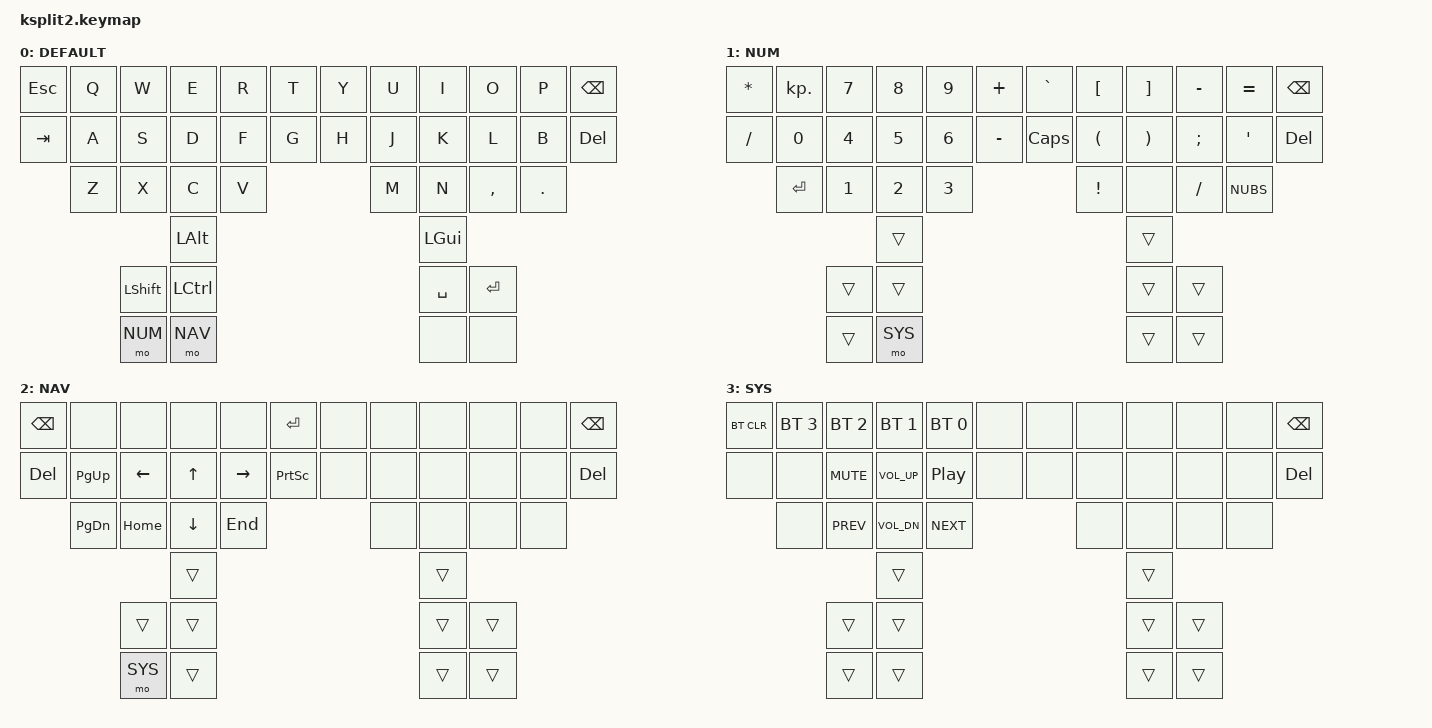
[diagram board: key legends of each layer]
/*
Test


*/



#include <behaviors.dtsi>
#include <dt-bindings/zmk/keys.h>
#include <dt-bindings/zmk/bt.h>
#include <dt-bindings/zmk/outputs.h>

#define DEFAULT 0
#define NUM     1
#define NAV     2
#define SYS     3




/ {

   

    keymap {
        compatible = "zmk,keymap";

        DEFAULT { 
            bindings = <
                &kp ESC   &kp Q     &kp W     &kp E     &kp R     &kp T         &kp Y     &kp U     &kp I     &kp O     &kp P     &kp BSPC
                &kp TAB   &kp A     &kp S     &kp D     &kp F     &kp G         &kp H     &kp J     &kp K     &kp L     &kp B     &kp DEL
                          &kp Z     &kp X     &kp C     &kp V                             &kp M     &kp N     &kp COMMA &kp DOT
                                              &kp LALT                                            &kp LGUI
                                        &kp LSHFT   &kp LCTRL                                 &kp SPACE   &kp ENTER
                                        &mo NUM     &mo NAV                                   &none       &none
            >;
        };

        NUM { 
            bindings = <
                &kp STAR  &kp KP_DOT &kp N7    &kp N8    &kp N9    &kp PLUS     &kp GRAVE &kp LBKT     &kp RBKT     &kp MINUS    &kp EQUAL    &kp BSPC
                &kp SLASH &kp N0     &kp N4    &kp N5    &kp N6    &kp MINUS    &kp CAPS  &kp LPAR     &kp RPAR     &kp SEMI     &kp SQT      &kp DEL
                          &kp ENTER  &kp N1    &kp N2    &kp N3                           &kp EXCL     &none        &kp FSLH     &kp NUBS
                                               &trans                                               &trans
                                         &trans   &trans                                        &trans   &trans
                                         &trans   &mo SYS                                       &trans   &trans
            >;
        };

         NAV { 
            bindings = <
                &kp BSPC  &none      &none     &none     &none     &kp ENTER     &none     &none     &none     &none     &none     &kp BSPC
                &kp DEL   &kp PG_UP  &kp LEFT  &kp UP    &kp RIGHT &kp PSCRN     &none     &none     &none     &none     &none     &kp DEL
                          &kp PG_DN  &kp HOME  &kp DOWN  &kp END                           &none     &none     &none     &none
                                               &trans                                               &trans
                                          &trans   &trans                                       &trans   &trans
                                          &mo SYS  &trans                                       &trans   &trans
            >; 
        };

         SYS { 
            bindings = <
                &bt BT_CLR &bt BT_SEL 3 &bt BT_SEL 2 &bt BT_SEL 1  &bt BT_SEL 0  &none           &none     &none     &none     &none     &none     &kp BSPC
                &none      &none        &kp C_MUTE   &kp C_VOL_UP  &kp C_PP      &none           &none     &none     &none     &none     &none     &kp DEL
                           &none        &kp C_PREV   &kp C_VOL_DN  &kp C_NEXT                              &none     &none     &none     &none
                                               &trans                                                    &trans
                                          &trans   &trans                                            &trans   &trans
                                          &trans  &trans                                             &trans   &trans
            >; 
        };
    };
 };
